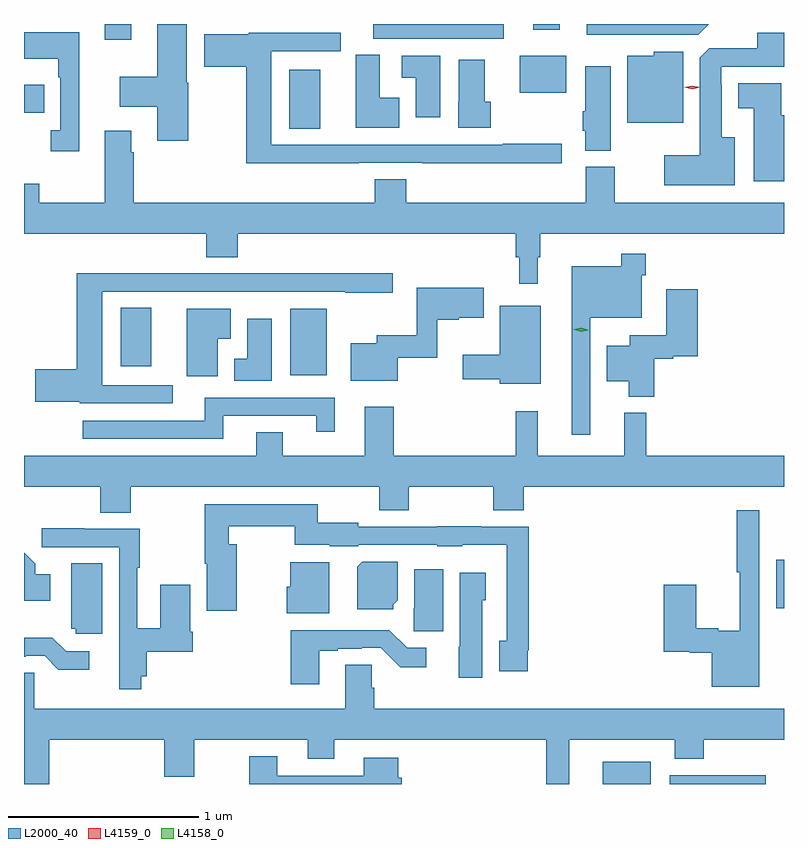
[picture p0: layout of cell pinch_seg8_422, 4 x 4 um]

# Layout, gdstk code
import gdstk
lib = gdstk.Library(unit=1e-6, precision=1e-09)
def R(c, l, rs):  # rectangles x0, y0, x1, y1
    for r in rs: c.add(gdstk.rectangle(r[:2], r[2:], *l))
def P(c, l, *ps):  # polygons
    for p in ps: c.add(gdstk.Polygon(p, *l))
L2000_40 = (2000, 40)
L4158_0 = (4158, 0)
L4159_0 = (4159, 0)

pinch_seg8_422 = lib.new_cell('pinch_seg8_422')
R(pinch_seg8_422, L2000_40, [(245.819,1148.236,246.07,1148.353), (246.17,1148.236,246.676,1148.282), (246.731,1149.161,246.772,1149.415), (244.172,1150.388,244.366,1150.738), (243.281,1150.434,243.442,1150.742), (244.169,1151.686,244.33,1151.995), (242.772,1151.77,242.879,1151.917), (245.381,1151.873,245.626,1152.07), (243.197,1152.153,243.337,1152.236), (244.61,1152.159,245.296,1152.236), (245.453,1152.207,245.593,1152.236)])
P(pinch_seg8_422, L2000_40, [(246.377,1152.236),(245.733,1152.236),(245.733,1152.18),(246.321,1152.18)],
  [(243.636,1151.927),(243.628,1151.927),(243.628,1152.236),(243.473,1152.236),(243.473,1151.959),(243.276,1151.959),(243.276,1151.801),(243.473,1151.801),(243.473,1151.622),(243.636,1151.622)],
  [(243.062,1152.193),(242.772,1152.193),(242.772,1152.053),(242.952,1152.053),(242.952,1151.957),(242.964,1151.957),(242.964,1151.678),(242.913,1151.678),(242.913,1151.565),(243.062,1151.565)],
  [(246.514,1151.641),(246.445,1151.641),(246.445,1151.915),(246.441,1151.915),(246.441,1152.012),(246.772,1152.012),(246.772,1152.191),(246.632,1152.191),(246.632,1152.108),(246.378,1152.108),(246.329,1152.059),(246.329,1151.545),(246.141,1151.545),(246.141,1151.387),(246.514,1151.387)],
  [(244.535,1151.505),(244.867,1151.505),(244.867,1151.504),(245.602,1151.504),(245.602,1151.606),(245.293,1151.606),(245.293,1151.601),(244.072,1151.601),(244.072,1152.093),(244.438,1152.093),(244.438,1152.189),(243.954,1152.189),(243.954,1152.181),(243.72,1152.181),(243.72,1152.011),(243.943,1152.011),(243.943,1151.504),(244.535,1151.504)],
  [(246.241,1152.091),(246.087,1152.091),(246.087,1152.07),(245.948,1152.07),(245.948,1151.717),(246.241,1151.717)],
  [(244.747,1151.848),(244.645,1151.848),(244.645,1152.073),(244.517,1152.073),(244.517,1151.69),(244.747,1151.69)],
  [(244.963,1152.07),(244.761,1152.07),(244.761,1151.954),(244.835,1151.954),(244.835,1151.745),(244.963,1151.745)],
  [(245.228,1151.826),(245.197,1151.826),(245.197,1152.049),(245.06,1152.049),(245.06,1151.826),(245.057,1151.826),(245.057,1151.69),(245.228,1151.69)],
  [(245.86,1152.013),(245.726,1152.013),(245.726,1151.777),(245.714,1151.777),(245.714,1151.674),(245.726,1151.674),(245.726,1151.569),(245.86,1151.569)],
  [(246.772,1151.757),(246.757,1151.757),(246.757,1151.923),(246.53,1151.923),(246.53,1151.792),(246.614,1151.792),(246.614,1151.409),(246.772,1151.409)],
  [(243.35,1151.561),(243.337,1151.561),(243.337,1151.674),(243.197,1151.674),(243.197,1151.296),(242.853,1151.296),(242.853,1151.395),(242.772,1151.395),(242.772,1151.132),(243.731,1151.132),(243.731,1151.008),(243.896,1151.008),(243.896,1151.132),(245.359,1151.132),(245.359,1151.009),(245.378,1151.009),(245.378,1150.869),(245.476,1150.869),(245.476,1151.009),(245.488,1151.009),(245.488,1151.132),(246.772,1151.132),(246.772,1151.296),(245.881,1151.296),(245.881,1151.484),(245.729,1151.484),(245.729,1151.296),(244.784,1151.296),(244.784,1151.42),(244.619,1151.42),(244.619,1151.296),(243.35,1151.296)],
  [(245.751,1150.691),(246.024,1150.691),(246.024,1150.913),(246.044,1150.913),(246.044,1151.026),(245.916,1151.026),(245.916,1150.96),(245.654,1150.96),(245.654,1150.074),(245.751,1150.074)],
  [(243.556,1150.335),(243.184,1150.335),(243.184,1150.827),(244.462,1150.827),(244.462,1150.822),(244.714,1150.822),(244.714,1150.925),(243.979,1150.925),(243.979,1150.923),(243.647,1150.923),(243.647,1150.925),(243.05,1150.925),(243.05,1150.418),(242.832,1150.418),(242.832,1150.247),(243.066,1150.247),(243.066,1150.239),(243.556,1150.239)],
  [(244.738,1150.48),(244.948,1150.48),(244.948,1150.679),(245.061,1150.679),(245.061,1150.691),(245.191,1150.691),(245.191,1150.849),(244.838,1150.849),(244.838,1150.599),(244.628,1150.599),(244.628,1150.555),(244.493,1150.555),(244.493,1150.358),(244.738,1150.358)],
  [(246.089,1150.475),(246.189,1150.475),(246.189,1150.487),(246.318,1150.487),(246.318,1150.84),(246.152,1150.84),(246.152,1150.597),(245.96,1150.597),(245.96,1150.543),(245.84,1150.543),(245.84,1150.355),(245.954,1150.355),(245.954,1150.274),(246.089,1150.274)],
  [(245.491,1150.753),(245.276,1150.753),(245.276,1150.495),(245.082,1150.495),(245.082,1150.366),(245.276,1150.366),(245.276,1150.343),(245.491,1150.343)],
  [(243.793,1150.58),(243.859,1150.58),(243.859,1150.738),(243.629,1150.738),(243.629,1150.383),(243.793,1150.383)],
  [(244.075,1150.684),(243.947,1150.684),(243.947,1150.474),(243.878,1150.474),(243.878,1150.358),(244.075,1150.358)],
  [(243.82,1150.173),(244.31,1150.173),(244.31,1150.089),(244.408,1150.089),(244.408,1150.269),(243.722,1150.269),(243.722,1150.149),(243.081,1150.149),(243.081,1150.053),(243.82,1150.053)],
  [(243.333,1149.8),(244.642,1149.8),(244.642,1149.676),(244.797,1149.676),(244.797,1149.8),(245.242,1149.8),(245.242,1149.676),(245.402,1149.676),(245.402,1149.8),(246.772,1149.8),(246.772,1149.964),(246.047,1149.964),(246.047,1150.189),(245.93,1150.189),(245.93,1149.964),(245.477,1149.964),(245.477,1150.198),(245.359,1150.198),(245.359,1149.964),(244.718,1149.964),(244.718,1150.222),(244.565,1150.222),(244.565,1149.964),(244.135,1149.964),(244.135,1150.088),(243.995,1150.088),(243.995,1149.964),(242.772,1149.964),(242.772,1149.8),(243.173,1149.8),(243.173,1149.664),(243.333,1149.664)],
  [(245.422,1148.941),(245.429,1148.941),(245.429,1149.591),(245.179,1149.591),(245.179,1149.593),(244.947,1149.593),(244.947,1149.591),(244.53,1149.591),(244.53,1149.61),(244.318,1149.61),(244.318,1149.708),(243.724,1149.708),(243.724,1149.395),(243.734,1149.395),(243.734,1149.147),(243.892,1149.147),(243.892,1149.499),(243.85,1149.499),(243.85,1149.592),(244.197,1149.592),(244.197,1149.494),(244.38,1149.494),(244.38,1149.488),(244.53,1149.488),(244.53,1149.495),(244.947,1149.495),(244.947,1149.488),(245.079,1149.488),(245.079,1149.494),(245.313,1149.494),(245.313,1148.99),(245.273,1148.99),(245.273,1148.829),(245.422,1148.829)],
  [(246.643,1149.676),(246.522,1149.676),(246.522,1149.351),(246.539,1149.351),(246.539,1149.043),(246.425,1149.043),(246.425,1149.056),(246.31,1149.056),(246.31,1149.286),(246.14,1149.286),(246.14,1148.933),(246.276,1148.933),(246.276,1148.926),(246.392,1148.926),(246.392,1148.747),(246.643,1148.747)],
  [(243.389,1148.804),(243.419,1148.804),(243.419,1148.933),(243.659,1148.933),(243.659,1149.037),(243.646,1149.037),(243.646,1149.286),(243.488,1149.286),(243.488,1149.056),(243.369,1149.056),(243.369,1149.373),(243.382,1149.373),(243.382,1149.579),(243.089,1149.579),(243.089,1149.582),(242.865,1149.582),(242.865,1149.483),(243.273,1149.483),(243.273,1148.736),(243.389,1148.736)],
  [(242.911,1149.34),(242.83,1149.34),(242.83,1149.395),(242.772,1149.453),(242.772,1149.2),(242.911,1149.2)],
  [(244.716,1149.18),(244.738,1149.202),(244.738,1149.406),(244.552,1149.406),(244.526,1149.38),(244.526,1149.155),(244.716,1149.155)],
  [(244.378,1149.404),(244.172,1149.404),(244.172,1149.273),(244.154,1149.273),(244.154,1149.134),(244.378,1149.134)],
  [(243.184,1149.398),(243.02,1149.398),(243.02,1149.054),(243.045,1149.054),(243.045,1149.027),(243.184,1149.027)],
  [(244.978,1149.367),(244.826,1149.367),(244.826,1149.162),(244.822,1149.162),(244.822,1149.039),(244.978,1149.039)],
  [(245.185,1149.204),(245.203,1149.204),(245.203,1149.349),(245.066,1149.349),(245.066,1148.958),(245.06,1148.958),(245.06,1148.796),(245.185,1148.796)],
  [(244.327,1148.937),(244.423,1148.937),(244.423,1148.949),(244.55,1148.949),(244.55,1148.952),(244.65,1148.952),(244.753,1148.85),(244.888,1148.85),(244.888,1148.952),(244.788,1148.952),(244.694,1149.046),(244.175,1149.046),(244.175,1148.76),(244.327,1148.76)],
  [(243.115,1148.934),(242.994,1148.934),(242.921,1149.007),(242.772,1149.007),(242.772,1148.907),(242.78,1148.907),(242.78,1148.91),(242.88,1148.91),(242.953,1148.837),(243.115,1148.837)],
  [(242.906,1148.468),(243.509,1148.468),(243.509,1148.274),(243.669,1148.274),(243.669,1148.468),(244.265,1148.468),(244.265,1148.369),(244.405,1148.369),(244.405,1148.468),(245.52,1148.468),(245.52,1148.236),(245.641,1148.236),(245.641,1148.468),(246.197,1148.468),(246.197,1148.369),(246.35,1148.369),(246.35,1148.468),(246.772,1148.468),(246.772,1148.632),(244.616,1148.632),(244.616,1148.742),(244.602,1148.742),(244.602,1148.864),(244.463,1148.864),(244.463,1148.632),(242.826,1148.632),(242.826,1148.822),(242.772,1148.822),(242.772,1148.236),(242.906,1148.236)],
  [(244.76,1148.27),(244.741,1148.27),(244.741,1148.374),(244.559,1148.374),(244.559,1148.28),(244.105,1148.28),(244.105,1148.383),(243.958,1148.383),(243.958,1148.236),(244.76,1148.236)])
P(pinch_seg8_422, L4158_0, [(245.704,1150.617),(245.669,1150.628),(245.669,1150.629),(245.669,1150.629),(245.705,1150.637),(245.74,1150.626),(245.74,1150.626),(245.74,1150.625)])
P(pinch_seg8_422, L4159_0, [(246.289,1151.892),(246.248,1151.902),(246.248,1151.902),(246.248,1151.902),(246.289,1151.912),(246.33,1151.902),(246.33,1151.902),(246.33,1151.902)])

lib.write_gds('pinch_seg8_422.gds')
